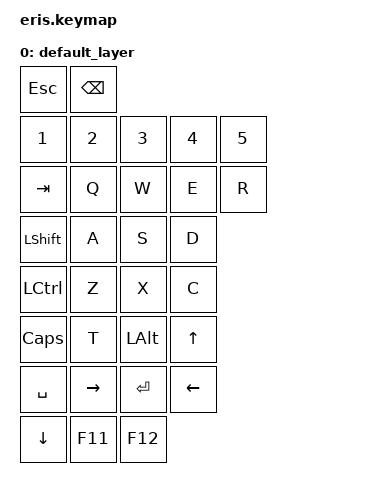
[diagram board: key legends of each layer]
#include <behaviors.dtsi>
#include <dt-bindings/zmk/keys.h>
#include <dt-bindings/zmk/bt.h>
#include "combos.dtsi"

/ {
    keymap {
        compatible = "zmk,keymap";

        default_layer {
            bindings = <
                &kp ESC      &kp BSPC
                &kp 1        &kp 2      &kp 3      &kp 4      &kp 5
                &kp TAB      &kp Q      &kp W      &kp E      &kp R
                &kp LSHIFT   &kp A      &kp S      &kp D
                &kp LCTRL    &kp Z      &kp X      &kp C
                &kp CAPSLOCK &kp T      &kp LALT   &kp UP
                &kp SPACE    &kp RIGHT  &kp ENTER  &kp LEFT
                &kp DOWN     &kp F11    &kp F12
            >;
        };
    };
};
